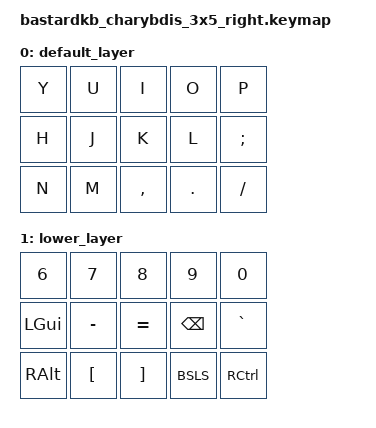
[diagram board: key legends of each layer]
/ {
  keymap {
    compatible = "zmk,keymap";

    default_layer {
      bindings = <
        &kp Y  &kp U  &kp I  &kp O  &kp P
        &kp H  &kp J  &kp K  &kp L  &kp SCLN
        &kp N  &kp M  &kp COMMA  &kp DOT  &kp SLASH
      >;
    };

    lower_layer {
      bindings = <
        &kp 6  &kp 7  &kp 8  &kp 9  &kp 0
        &kp LGUI  &kp MINUS  &kp EQUAL  &kp BSPC  &kp GRAVE
        &kp RALT  &kp LBKT  &kp RBKT  &kp BSLS  &kp RCTRL
      >;
    };
  };
};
